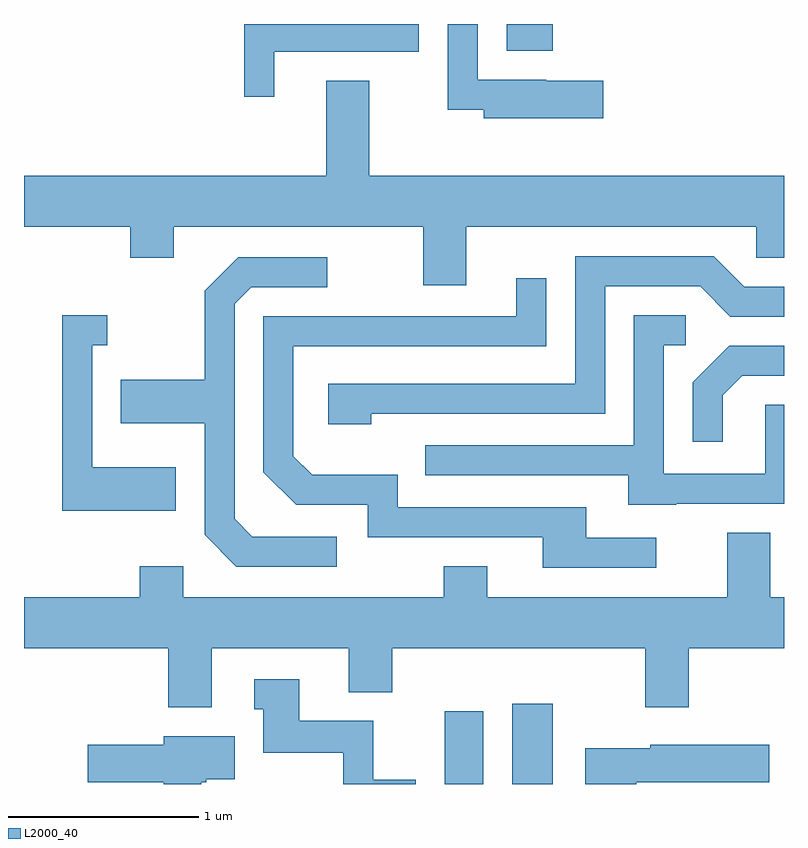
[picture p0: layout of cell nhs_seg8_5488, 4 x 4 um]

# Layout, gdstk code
import gdstk
lib = gdstk.Library(unit=1e-6, precision=1e-09)
def R(c, l, rs):  # rectangles x0, y0, x1, y1
    for r in rs: c.add(gdstk.rectangle(r[:2], r[2:], *l))
def P(c, l, *ps):  # polygons
    for p in ps: c.add(gdstk.Polygon(p, *l))
L2000_40 = (2000, 40)

nhs_seg8_5488 = lib.new_cell('nhs_seg8_5488')
R(nhs_seg8_5488, L2000_40, [(351.826,1862.342,352.029,1862.724), (352.181,1862.342,352.394,1862.764), (352.151,1866.201,352.394,1866.342)])
P(nhs_seg8_5488, L2000_40, [(350.929,1866.196),(351.689,1866.196),(351.689,1866.342),(350.771,1866.342),(350.771,1865.958),(350.929,1865.958)],
  [(352.659,1866.044),(352.36,1866.044),(352.36,1866.049),(351.999,1866.049),(351.999,1866.342),(351.841,1866.342),(351.841,1865.891),(352.031,1865.891),(352.031,1865.846),(352.659,1865.846)],
  [(351.939,1865.276),(353.466,1865.276),(353.466,1865.111),(353.611,1865.111),(353.611,1865.544),(351.429,1865.544),(351.429,1866.044),(351.201,1866.044),(351.201,1865.544),(349.611,1865.544),(349.611,1865.276),(350.171,1865.276),(350.171,1865.111),(350.399,1865.111),(350.399,1865.276),(351.711,1865.276),(351.711,1864.966),(351.939,1864.966)],
  [(351.439,1864.291),(352.669,1864.291),(352.669,1864.961),(353.169,1864.961),(353.329,1864.801),(353.611,1864.801),(353.611,1864.959),(353.402,1864.959),(353.242,1865.119),(352.511,1865.119),(352.511,1864.449),(351.211,1864.449),(351.211,1864.236),(351.439,1864.236)],
  [(351.258,1863.644),(350.812,1863.644),(350.719,1863.737),(350.719,1864.869),(350.807,1864.956),(351.208,1864.956),(351.208,1865.114),(350.739,1865.114),(350.561,1864.937),(350.561,1864.469),(350.121,1864.469),(350.121,1864.241),(350.561,1864.241),(350.561,1863.654),(350.729,1863.486),(351.258,1863.486)],
  [(352.938,1863.639),(352.569,1863.639),(352.569,1863.799),(351.579,1863.799),(351.579,1863.969),(351.127,1863.969),(351.029,1864.067),(351.029,1864.646),(352.359,1864.646),(352.359,1865.003),(352.201,1865.003),(352.201,1864.804),(350.871,1864.804),(350.871,1863.984),(351.044,1863.811),(351.421,1863.811),(351.421,1863.641),(352.341,1863.641),(352.341,1863.481),(352.938,1863.481)],
  [(350.409,1864.009),(349.969,1864.009),(349.969,1864.651),(350.048,1864.651),(350.048,1864.809),(349.811,1864.809),(349.811,1863.781),(350.409,1863.781)],
  [(353.045,1863.816),(353.611,1863.816),(353.611,1864.339),(353.511,1864.339),(353.511,1863.974),(352.979,1863.974),(352.979,1864.651),(353.093,1864.651),(353.093,1864.809),(352.821,1864.809),(352.821,1864.124),(351.723,1864.124),(351.723,1863.966),(352.791,1863.966),(352.791,1863.811),(353.045,1863.811)],
  [(353.289,1864.389),(353.392,1864.491),(353.611,1864.491),(353.611,1864.649),(353.324,1864.649),(353.131,1864.457),(353.131,1864.143),(353.289,1864.143)],
  [(352.881,1862.746),(353.109,1862.746),(353.109,1863.056),(353.611,1863.056),(353.611,1863.324),(353.539,1863.324),(353.539,1863.664),(353.311,1863.664),(353.311,1863.324),(352.049,1863.324),(352.049,1863.489),(351.821,1863.489),(351.821,1863.324),(350.449,1863.324),(350.449,1863.489),(350.221,1863.489),(350.221,1863.324),(349.611,1863.324),(349.611,1863.056),(350.371,1863.056),(350.371,1862.746),(350.599,1862.746),(350.599,1863.056),(351.321,1863.056),(351.321,1862.826),(351.549,1862.826),(351.549,1863.056),(352.881,1863.056)],
  [(351.674,1862.364),(351.449,1862.364),(351.449,1862.674),(351.059,1862.674),(351.059,1862.894),(350.823,1862.894),(350.823,1862.736),(350.871,1862.736),(350.871,1862.506),(351.291,1862.506),(351.291,1862.342),(351.674,1862.342)],
  [(350.544,1862.351),(350.57,1862.351),(350.57,1862.366),(350.719,1862.366),(350.719,1862.594),(350.346,1862.594),(350.346,1862.549),(349.946,1862.549),(349.946,1862.351),(350.346,1862.351),(350.346,1862.342),(350.544,1862.342)],
  [(352.834,1862.351),(353.534,1862.351),(353.534,1862.549),(352.906,1862.549),(352.906,1862.529),(352.566,1862.529),(352.566,1862.342),(352.834,1862.342)])

lib.write_gds('nhs_seg8_5488.gds')
